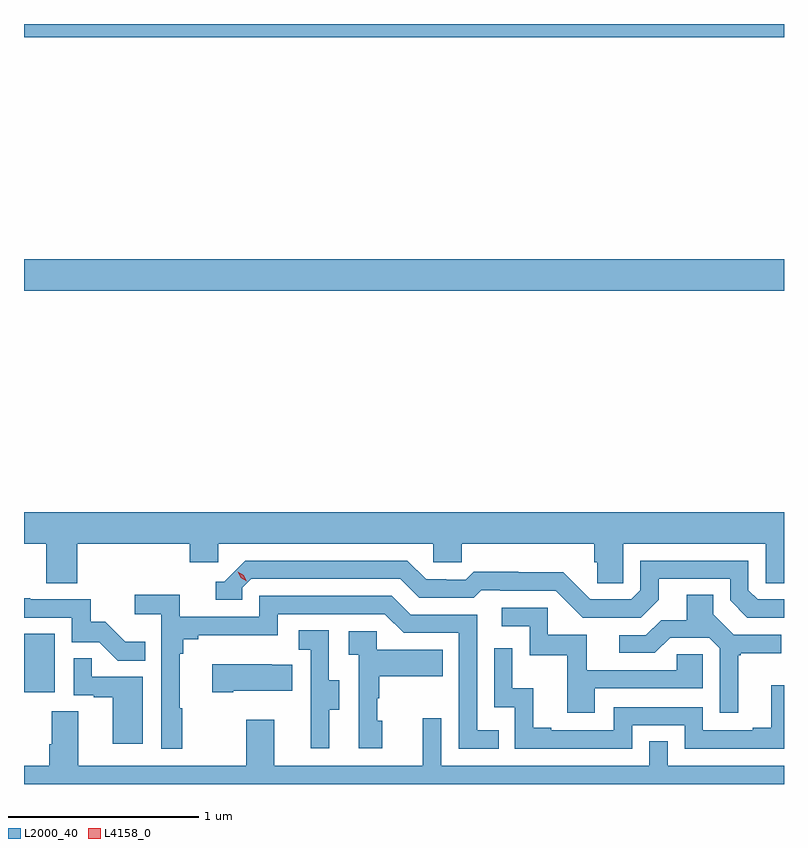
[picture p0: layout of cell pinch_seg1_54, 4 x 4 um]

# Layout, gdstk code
import gdstk
lib = gdstk.Library(unit=1e-6, precision=1e-09)
def R(c, l, rs):  # rectangles x0, y0, x1, y1
    for r in rs: c.add(gdstk.rectangle(r[:2], r[2:], *l))
def P(c, l, *ps):  # polygons
    for p in ps: c.add(gdstk.Polygon(p, *l))
L2000_40 = (2000, 40)
L4158_0 = (4158, 0)

pinch_seg1_54 = lib.new_cell('pinch_seg1_54')
R(pinch_seg1_54, L2000_40, [(1053.099,564.27,1053.262,564.577), (1053.099,566.384,1057.099,566.548), (1053.099,567.716,1057.099,567.787)])
P(pinch_seg1_54, L2000_40, [(1053.38,565.052),(1053.971,565.052),(1053.971,564.954),(1054.122,564.954),(1054.122,565.052),(1055.253,565.052),(1055.253,564.954),(1055.403,564.954),(1055.403,565.052),(1056.101,565.052),(1056.101,564.954),(1056.115,564.954),(1056.115,564.844),(1056.252,564.844),(1056.252,565.052),(1057.002,565.052),(1057.002,564.844),(1057.099,564.844),(1057.099,565.216),(1053.099,565.216),(1053.099,565.052),(1053.215,565.052),(1053.215,564.844),(1053.38,564.844)],
  [(1056.439,564.757),(1056.439,564.867),(1056.816,564.867),(1056.816,564.753),(1056.906,564.663),(1057.099,564.663),(1057.099,564.759),(1056.96,564.759),(1056.912,564.807),(1056.912,564.963),(1056.342,564.963),(1056.342,564.807),(1056.294,564.759),(1056.078,564.759),(1055.936,564.901),(1055.7,564.901),(1055.7,564.904),(1055.467,564.904),(1055.425,564.861),(1055.322,564.861),(1055.322,564.864),(1055.215,564.864),(1055.116,564.963),(1054.263,564.963),(1054.152,564.852),(1054.109,564.852),(1054.109,564.756),(1054.248,564.756),(1054.248,564.819),(1054.296,564.867),(1055.079,564.867),(1055.178,564.768),(1055.467,564.768),(1055.506,564.807),(1055.605,564.807),(1055.605,564.804),(1055.898,564.804),(1056.039,564.663),(1056.345,564.663)],
  [(1056.859,564.465),(1056.871,564.465),(1056.871,564.476),(1057.084,564.476),(1057.084,564.573),(1056.834,564.573),(1056.727,564.68),(1056.727,564.782),(1056.587,564.782),(1056.587,564.65),(1056.452,564.65),(1056.372,564.57),(1056.231,564.57),(1056.231,564.477),(1056.418,564.477),(1056.499,564.558),(1056.705,564.558),(1056.762,564.501),(1056.762,564.162),(1056.859,564.162)],
  [(1053.931,564.185),(1053.919,564.185),(1053.919,564.473),(1053.938,564.473),(1053.938,564.55),(1054.015,564.55),(1054.015,564.569),(1054.434,564.569),(1054.434,564.681),(1054.998,564.681),(1055.097,564.582),(1055.388,564.582),(1055.388,563.973),(1055.597,563.973),(1055.597,564.069),(1055.484,564.069),(1055.484,564.678),(1055.134,564.678),(1055.035,564.777),(1054.338,564.777),(1054.338,564.666),(1053.92,564.666),(1053.92,564.782),(1053.681,564.782),(1053.681,564.68),(1053.822,564.68),(1053.822,563.973),(1053.931,563.973)],
  [(1053.737,564.535),(1053.633,564.535),(1053.526,564.642),(1053.45,564.642),(1053.45,564.759),(1053.131,564.759),(1053.131,564.764),(1053.099,564.764),(1053.099,564.663),(1053.351,564.663),(1053.351,564.534),(1053.495,564.534),(1053.593,564.436),(1053.737,564.436)],
  [(1056.103,564.291),(1056.672,564.291),(1056.672,564.471),(1056.535,564.471),(1056.535,564.387),(1056.061,564.387),(1056.061,564.573),(1055.856,564.573),(1055.856,564.714),(1055.613,564.714),(1055.613,564.618),(1055.76,564.618),(1055.76,564.465),(1055.959,564.465),(1055.959,564.162),(1056.103,564.162)],
  [(1054.705,564.178),(1054.759,564.178),(1054.759,564.333),(1054.704,564.333),(1054.704,564.596),(1054.545,564.596),(1054.545,564.493),(1054.608,564.493),(1054.608,564.189),(1054.607,564.189),(1054.607,563.976),(1054.705,563.976)],
  [(1054.984,564.12),(1054.959,564.12),(1054.959,564.239),(1054.969,564.239),(1054.969,564.353),(1055.303,564.353),(1055.303,564.493),(1054.956,564.493),(1054.956,564.591),(1054.809,564.591),(1054.809,564.467),(1054.86,564.467),(1054.86,563.976),(1054.984,563.976)],
  [(1056.3,564.096),(1056.576,564.096),(1056.576,563.973),(1057.099,563.973),(1057.099,564.307),(1057.031,564.307),(1057.031,564.082),(1056.935,564.082),(1056.935,564.069),(1056.672,564.069),(1056.672,564.192),(1056.204,564.192),(1056.204,564.069),(1055.875,564.069),(1055.875,564.082),(1055.78,564.082),(1055.78,564.29),(1055.67,564.29),(1055.67,564.502),(1055.574,564.502),(1055.574,564.192),(1055.682,564.192),(1055.682,563.973),(1056.3,563.973)],
  [(1053.724,564.351),(1053.455,564.351),(1053.455,564.449),(1053.36,564.449),(1053.36,564.255),(1053.467,564.255),(1053.467,564.243),(1053.566,564.243),(1053.566,564),(1053.724,564)],
  [(1054.201,564.278),(1054.511,564.278),(1054.511,564.415),(1054.403,564.415),(1054.403,564.418),(1054.089,564.418),(1054.089,564.271),(1054.201,564.271)],
  [(1057.099,563.884),(1056.486,563.884),(1056.486,564.011),(1056.39,564.011),(1056.39,563.884),(1055.295,563.884),(1055.295,564.133),(1055.198,564.133),(1055.198,563.884),(1054.417,563.884),(1054.417,564.124),(1054.27,564.124),(1054.27,563.884),(1053.385,563.884),(1053.385,564.17),(1053.245,564.17),(1053.245,563.996),(1053.233,563.996),(1053.233,563.884),(1053.099,563.884),(1053.099,563.787),(1057.099,563.787)])
P(pinch_seg1_54, L4158_0, [(1054.272,564.853),(1054.241,564.872),(1054.224,564.904),(1054.224,564.905),(1054.225,564.905),(1054.256,564.886),(1054.272,564.853),(1054.272,564.853)])

lib.write_gds('pinch_seg1_54.gds')
